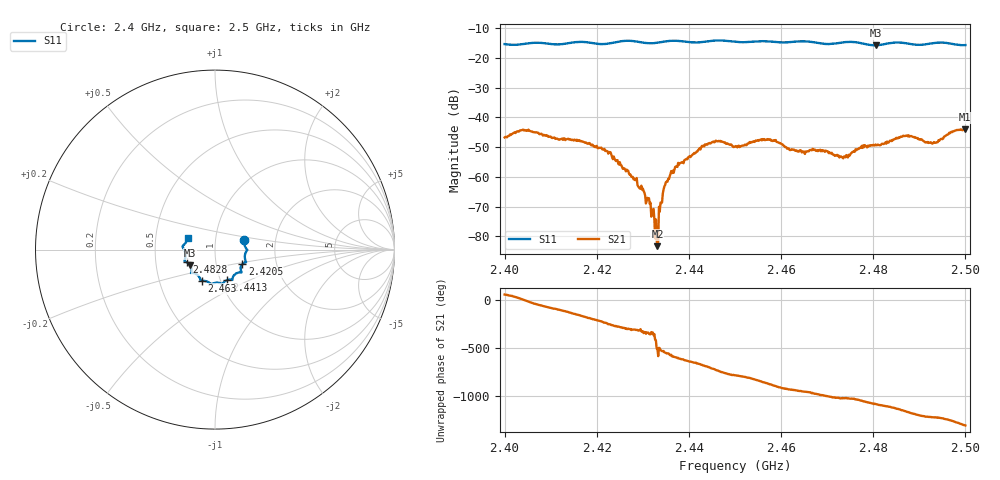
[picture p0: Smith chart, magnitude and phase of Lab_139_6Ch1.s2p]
# Hz S RI R 50
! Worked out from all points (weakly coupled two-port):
!   601 points, 2.4 GHz to 2.5 GHz, reference 50 ohm
!   highest |S21| = -43.96 dB at 2.4998 GHz (marker M1); lowest = -83.3 dB at 2.4332 GHz (marker M2)
!   lowest |S11| = -15.7 dB at 2.4805 GHz (marker M3), VSWR 1.39, Z = 37.3 - j6.7 ohm
!   |S11| at or under -10 dB: start of sweep to end of sweep
!   S12 and S22 are empty: the file has one direction only
!   S11 on the Smith chart (normalised r, x): 2.4 GHz: 1.38, +0.15; 2.4205 GHz: 1.34, -0.22; 2.4413 GHz: 1.08, -0.38; 2.463 GHz: 0.82, -0.29; 2.4828 GHz: 0.72, -0.10; 2.5 GHz: 0.73, +0.10
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2.4e9  0.1631 0.0523  0.00258 0.00382  0 0  0 0
2.404e9  0.1714 0.01  0.00623 0.000398  0 0  0 0
2.416667e9  0.1734 -0.0695  -0.00382 -0.000996  0 0  0 0
2.4205e9  0.152 -0.0809  -0.00245 0.00189  0 0  0 0
2.428167e9  0.1437 -0.1266  0.000557 0.000746  0 0  0 0
2.433167e9  0.1013 -0.1499  -5.47e-05 -4.09e-05  0 0  0 0
2.433333e9  0.1004 -0.1513  -5.99e-05 5.69e-05  0 0  0 0
2.434333e9  0.098 -0.1594  -0.000521 -6.99e-05  0 0  0 0
2.435667e9  0.0977 -0.1669  -0.000877 0.000276  0 0  0 0
2.441333e9  0.0674 -0.1698  0.000908 0.00232  0 0  0 0
2.445667e9  0.0424 -0.1918  0.0039 -0.000129  0 0  0 0
2.45e9  0.0248 -0.1856  0.00156 -0.00285  0 0  0 0
2.457167e9  -0.0261 -0.1887  -0.00369 -0.00225  0 0  0 0
2.463e9  -0.072 -0.1738  -0.00226 0.00159  0 0  0 0
2.466667e9  -0.0817 -0.1673  -0.00106 0.00259  0 0  0 0
2.4735e9  -0.1293 -0.1302  0.00105 0.00176  0 0  0 0
2.4805e9  -0.1384 -0.0873  0.00351 -7.22e-06  0 0  0 0
2.482833e9  -0.1586 -0.0702  0.00336 -0.00138  0 0  0 0
2.483333e9  -0.1628 -0.0682  0.00332 -0.0018  0 0  0 0
2.493167e9  -0.1782 0.0105  -0.00292 -0.00251  0 0  0 0
2.499833e9  -0.1527 0.0614  -0.00492 0.004  0 0  0 0
2.5e9  -0.1521 0.0638  -0.00463 0.00423  0 0  0 0
